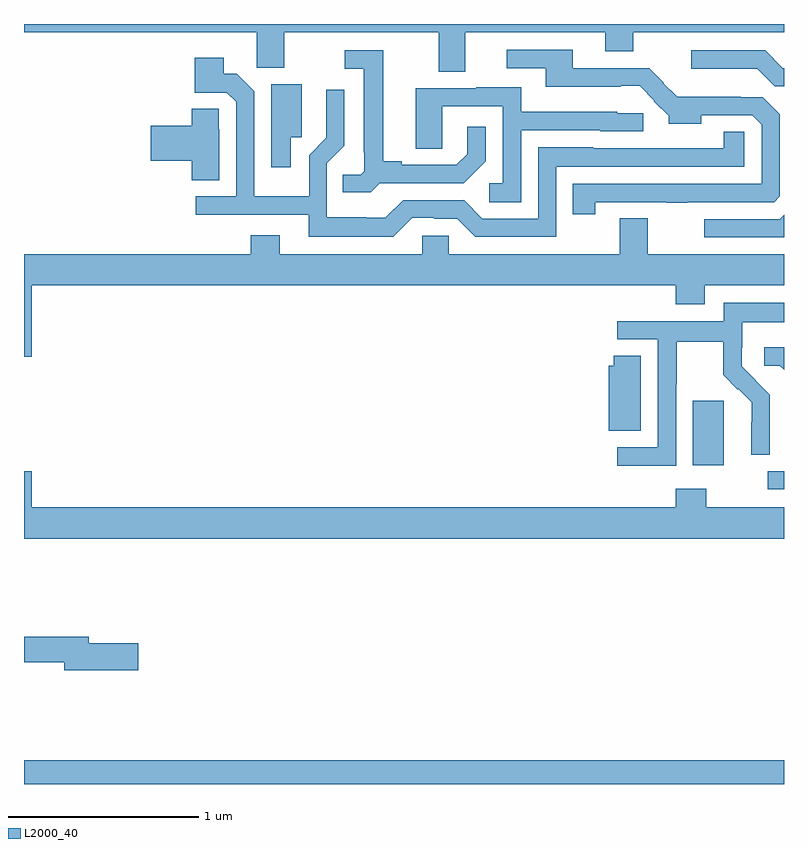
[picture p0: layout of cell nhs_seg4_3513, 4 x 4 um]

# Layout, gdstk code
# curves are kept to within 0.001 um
import gdstk
lib = gdstk.Library(unit=1e-6, precision=1e-09)
def R(c, l, rs):  # rectangles x0, y0, x1, y1
    for r in rs: c.add(gdstk.rectangle(r[:2], r[2:], *l))
def P(c, l, *ps):  # polygons
    for p in ps: c.add(gdstk.Polygon(p, *l))
L2000_40 = (2000, 40)

nhs_seg4_3513 = lib.new_cell('nhs_seg4_3513')
R(nhs_seg4_3513, L2000_40, [(297,756.9,301,757.024), (300.915,758.451,301,758.547), (300.521,758.577,300.682,758.917)])
P(nhs_seg4_3513, L2000_40, [(299.323,760.856),(300.059,760.856),(300.059,760.757),(300.207,760.757),(300.207,760.856),(301,760.856),(301,760.9),(297,760.9),(297,760.856),(298.224,760.856),(298.224,760.669),(298.371,760.669),(298.371,760.856),(299.183,760.856),(299.183,760.648),(299.323,760.648)],
  [(300.006,759.963),(300.379,759.963),(300.379,759.958),(300.491,759.958),(300.491,759.963),(300.948,759.963),(300.978,759.993),(300.978,760.425),(300.889,760.514),(300.773,760.514),(300.773,760.516),(300.439,760.516),(300.365,760.589),(300.367,760.591),(300.291,760.668),(299.887,760.668),(299.887,760.764),(299.541,760.764),(299.541,760.668),(299.747,760.668),(299.747,760.571),(300.14,760.571),(300.14,760.574),(300.242,760.574),(300.318,760.497),(300.315,760.494),(300.394,760.416),(300.394,760.376),(300.565,760.376),(300.565,760.419),(300.834,760.419),(300.882,760.371),(300.882,760.059),(299.887,760.059),(299.887,759.9),(300.006,759.9)],
  [(298.872,760.062),(299.314,760.062),(299.43,760.178),(299.43,760.36),(299.333,760.36),(299.333,760.215),(299.276,760.158),(298.987,760.158),(298.987,760.178),(298.891,760.178),(298.891,760.761),(298.689,760.761),(298.689,760.665),(298.787,760.665),(298.787,760.225),(298.791,760.225),(298.791,760.125),(298.773,760.107),(298.678,760.107),(298.678,760.015),(298.824,760.015)],
  [(301,760.668),(300.993,760.668),(300.9,760.761),(300.513,760.761),(300.513,760.664),(300.859,760.664),(300.95,760.573),(301,760.573)],
  [(299.043,759.879),(299.16,759.879),(299.16,759.876),(299.28,759.876),(299.376,759.78),(299.802,759.78),(299.802,760.149),(300.792,760.149),(300.792,760.334),(300.684,760.334),(300.684,760.246),(299.997,760.245),(299.997,760.252),(299.706,760.252),(299.706,759.876),(299.412,759.876),(299.316,759.972),(298.995,759.972),(298.902,759.879),(298.802,759.879),(298.802,759.883),(298.593,759.883),(298.593,760.167),(298.686,760.26),(298.686,760.555),(298.59,760.555),(298.59,760.408),(298.592,760.408),(298.592,760.302),(298.5,760.21),(298.5,759.994),(298.212,759.994),(298.212,760.545),(298.119,760.638),(298.051,760.638),(298.051,760.723),(297.899,760.723),(297.899,760.539),(298.068,760.539),(298.116,760.491),(298.116,759.993),(297.903,759.993),(297.903,759.897),(298.499,759.897),(298.499,759.779),(298.943,759.779)],
  [(298.405,760.305),(298.462,760.305),(298.462,760.584),(298.301,760.584),(298.301,760.146),(298.405,760.146)],
  [(299.616,760.341),(300.033,760.341),(300.033,760.335),(300.258,760.335),(300.258,760.431),(300.123,760.431),(300.123,760.438),(299.617,760.438),(299.617,760.567),(299.381,760.567),(299.381,760.563),(299.063,760.563),(299.063,760.243),(299.202,760.243),(299.202,760.467),(299.52,760.467),(299.52,760.062),(299.448,760.062),(299.448,759.961),(299.616,759.961)],
  [(298.027,760.346),(298.026,760.346),(298.026,760.454),(297.884,760.454),(297.884,760.364),(297.666,760.364),(297.666,760.181),(297.884,760.181),(297.884,760.078),(298.027,760.078)],
  [(301,759.895),(300.978,759.873),(300.579,759.873),(300.579,759.777),(301,759.777)],
  [(297.04,759.524),(300.431,759.524),(300.431,759.425),(300.583,759.425),(300.583,759.524),(301,759.524),(301,759.688),(300.283,759.688),(300.283,759.878),(300.136,759.878),(300.136,759.688),(299.235,759.688),(299.235,759.786),(299.097,759.786),(299.097,759.688),(298.345,759.688),(298.345,759.787),(298.193,759.787),(298.193,759.688),(297,759.688),(297,759.15),(297.04,759.15)],
  [(300.432,759.004),(300.435,759.004),(300.435,759.228),(300.679,759.228),(300.679,759.053),(300.756,758.976),(300.759,758.979),(300.83,758.909),(300.83,758.804),(300.827,758.804),(300.827,758.632),(300.924,758.632),(300.924,758.95),(300.778,759.098),(300.778,759.195),(300.78,759.195),(300.78,759.329),(301,759.329),(301,759.433),(300.684,759.433),(300.684,759.336),(300.123,759.336),(300.123,759.24),(300.336,759.24),(300.336,758.673),(300.123,758.673),(300.123,758.575),(300.432,758.575)],
  [(301,759.199),(300.897,759.199),(300.897,759.102),(300.978,759.102),(301,759.08)],
  [(300.247,759.155),(300.104,759.155),(300.104,759.102),(300.077,759.102),(300.077,758.758),(300.247,758.758)],
  [(301,758.356),(300.591,758.356),(300.591,758.455),(300.431,758.455),(300.431,758.356),(297.04,758.356),(297.04,758.545),(297,758.545),(297,758.192),(301,758.192)],
  [(297.601,757.64),(297.34,757.64),(297.34,757.676),(297,757.676),(297,757.54),(297.212,757.54),(297.212,757.498),(297.601,757.498)])

lib.write_gds('nhs_seg4_3513.gds')
